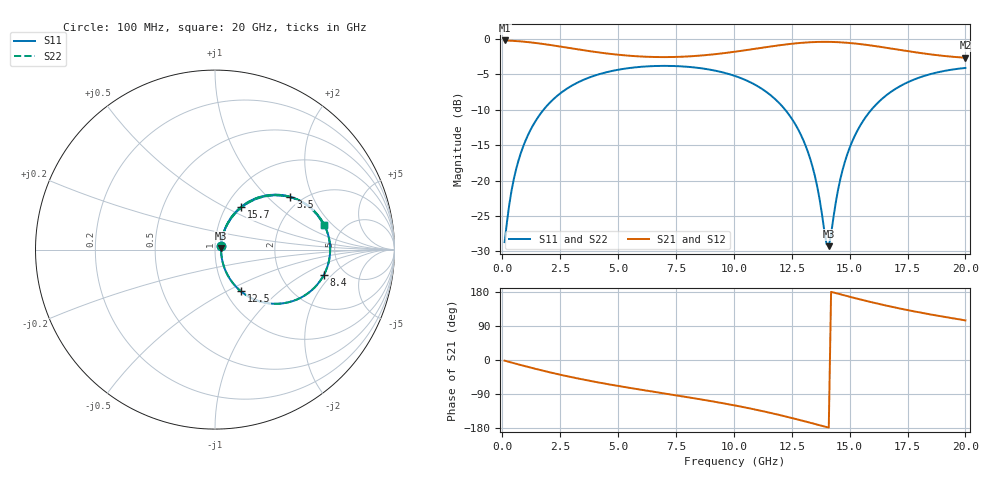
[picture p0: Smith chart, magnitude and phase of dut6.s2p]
! Touchstone file exported from HFSS 2026.1.0
!  File:  C:/ffzhzh/LocalFiles/Ansys_Project_Files/temp_test_TSV_RDL_6_1782978983_45308.aedt
!  Generated:  04:07:29 PM Jul  2, 2026
!  Design:  TSV_RDL
!  Project:  temp_test_TSV_RDL_6_1782978983_45308
! Variables:
!  h_bsmrdl = 2.7um
!  h_ox = 20um
!  h_rdl = 5um
!  h_sub = 56.76um
!  h_tmrdl = 5.75um
!  h_tsv = 56.76um
!  h_via = 3um
!  l_bsmrdl = 931.78um
!  l_sub = 4453.5um
!  l_tmrdl = 295.28um
!  m_sub = 200um
!  pitch = 47.48um
!  r_tsv = 8.48um
!  s_tmrdl = 10um
!  w_bsmrdl = 15.58um
!  w_sub = 500um
!  w_tmrdl = 10.1um
!  x_tsv_center1 = 300.33um
!  x_tsv_center2 = 1247.69um
!  x_tsv_center3 = 1553.07um
!  x_tsv_center4 = 2500.43um
!  x_tsv_center5 = 2805.81um
!  x_tsv_center6 = 3753.17um
# GHz S MA R 50.000000
! Terminal data exported
! Port[1] = TM_RDL1_1_T1
! Port[2] = TM_RDL5_1_T1
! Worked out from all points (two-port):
!   200 points, 100 MHz to 20 GHz, reference 50 ohm
!   highest |S21| = -0.27 dB at 100 MHz (marker M1); lowest = -2.7 dB at 20 GHz (marker M2)
!   |S21| within 3 dB of the highest: start of sweep to end of sweep
!   lowest |S11| = -29.2 dB at 14.1 GHz (marker M3), VSWR 1.07, Z = 53.5 + j0.694 ohm
!   |S11| at or under -10 dB: start of sweep to 1.791 GHz; 12.21 GHz to 15.95 GHz (3.741 GHz wide, 26.6 % of centre)
!   |S22| runs from -29.2 to -3.9 dB; largest |S21 - S12| = 1.6e-14
!   S11 on the Smith chart (normalised r, x): 100 MHz: 1.06, +0.04; 3.5 GHz: 1.75, +1.38; 8.4 GHz: 3.51, -1.61; 12.5 GHz: 1.18, -0.59; 15.7 GHz: 1.17, +0.61; 20 GHz: 3.52, +1.57
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0.1  0.03682 31.2  0.9689 -1.7  0.9689 -1.7  0.03682 31.2
! Gamma 0 0 0 0
! Port Impedance 50 0 50 0
0.3  0.06739 56.6  0.9663 -5.1  0.9663 -5.1  0.06739 56.6
0.5  0.1028 62.8  0.9622 -8.5  0.9622 -8.5  0.1028 62.8
1.1  0.2073 62.2  0.944 -18.1  0.944 -18.1  0.2073 62.2
2.1  0.3596 51.3  0.8989 -33.2  0.8989 -33.2  0.3596 51.3
3.5  0.5111 34.8  0.8273 -51.6  0.8273 -51.6  0.5111 34.8
5.2  0.6101 17.1  0.7631 -70.5  0.7631 -70.5  0.6101 17.1
6.8  0.6413 2.0  0.7399 -86.4  0.7399 -86.4  0.6413 2.0
8.4  0.6228 -13.0  0.7547 -102.1  0.7547 -102.1  0.6228 -13.0
10.1  0.5412 -30.3  0.8093 -120.6  0.8093 -120.6  0.5412 -30.3
11.5  0.4095 -46.4  0.8743 -138.4  0.8743 -138.4  0.4094 -46.5
12.5  0.2727 -58.2  0.9183 -153.0  0.9183 -153.0  0.2727 -58.2
13.4  0.1247 -63.3  0.9431 -167.2  0.9431 -167.2  0.1246 -63.3
13.7  0.07435 -56.7  0.9466 -172.0  0.9466 -172.0  0.07429 -56.7
14  0.0358 -17.6  0.9473 -176.9  0.9473 -176.9  0.03577 -17.5
14.1  0.03448 10.8  0.9469 -178.6  0.9469 -178.6  0.03448 10.9
14.5  0.08589 60.3  0.9423 174.9  0.9423 174.9  0.08594 60.3
14.8  0.1362 64.5  0.9357 170.1  0.9357 170.1  0.1363 64.5
15.7  0.2805 58.4  0.9033 156.2  0.9033 156.2  0.2805 58.4
16.7  0.4115 47.0  0.8548 142.0  0.8548 142.0  0.4116 46.9
18.1  0.5371 31.4  0.7887 124.7  0.7887 124.7  0.5372 31.4
20  0.6204 12.8  0.7322 104.6  0.7322 104.6  0.6205 12.7
